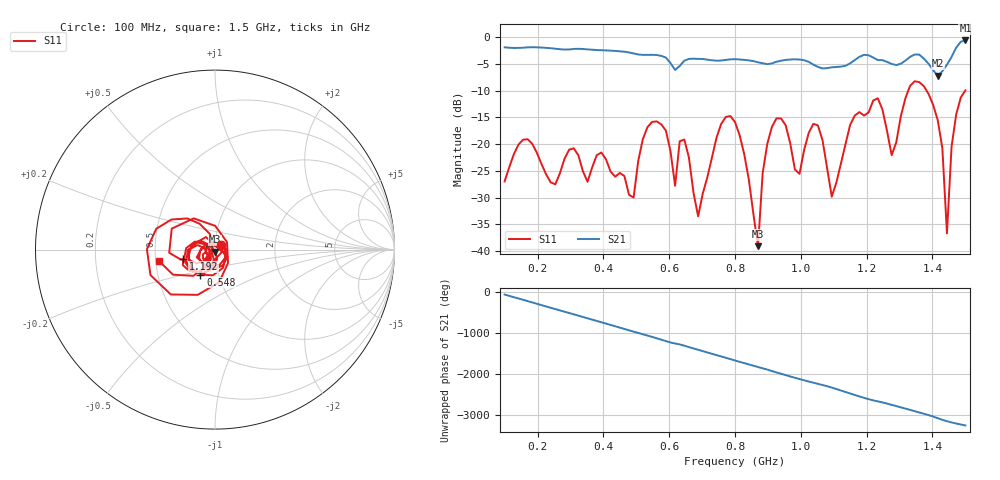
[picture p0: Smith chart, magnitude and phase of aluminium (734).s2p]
! NanoVNA-App
! Date: 2025-09-25 15:01:00
! Start: 100MHz Stop: 1,5GHz Points: 101
! S-Parameter data: F S11 S21 S12 S22
# Hz S RI R 50
!  Frequency  S11_Real  S11_Imag  S21_Real  S21_Imag  S12_Real  S12_Imag  S22_Real  S22_Imag
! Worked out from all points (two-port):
!   101 points, 100 MHz to 1.5 GHz, reference 50 ohm
!   highest |S21| = -0.63 dB at 1.5 GHz (marker M1); lowest = -7.2 dB at 1.416 GHz (marker M2)
!   |S21| within 3 dB of the highest: start of sweep to 581.2 MHz; 1.459 GHz to end of sweep (the widest 2 of 4)
!   lowest |S11| = -39.1 dB at 870 MHz (marker M3), VSWR 1.02, Z = 50.1 - j1.11 ohm
!   |S11| at or under -10 dB: start of sweep to 1.326 GHz; 1.382 GHz to 1.499 GHz (117.5 MHz wide, 8.16 % of centre)
!   S12 and S22 are empty: the file has one direction only
!   S11 on the Smith chart (normalised r, x): 100 MHz: 1.07, +0.06; 548 MHz: 0.82, -0.23; 1.192 GHz: 0.70, -0.07; 1.5 GHz: 0.52, -0.07
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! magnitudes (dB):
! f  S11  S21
! 100 MHz  -27.0  -1.9
! 156 MHz  -19.2  -2.0
! 338 MHz  -25.1  -2.2
! 492 MHz  -30.0  -3.1
! 548 MHz  -15.9  -3.3
! 576 MHz  -16.3  -3.5
! 618 MHz  -27.8  -6.1
! 646 MHz  -19.1  -4.4
! 688 MHz  -33.5  -4.1
! 800 MHz  -15.9  -4.1
! 870 MHz  -39.1  -4.7
! 912 MHz  -16.8  -4.9
! 996 MHz  -25.5  -4.2
! 1.038 GHz  -16.2  -5.1
! 1.094 GHz  -29.8  -5.6
! 1.192 GHz  -14.7  -3.3
! 1.276 GHz  -22.1  -5.0
! 1.346 GHz  -8.3  -3.3
! 1.416 GHz  -15.5  -7.2
! 1.444 GHz  -36.7  -5.1
! 1.458 GHz  -20.5  -3.7
! 1.5 GHz  -10.0  -0.6
